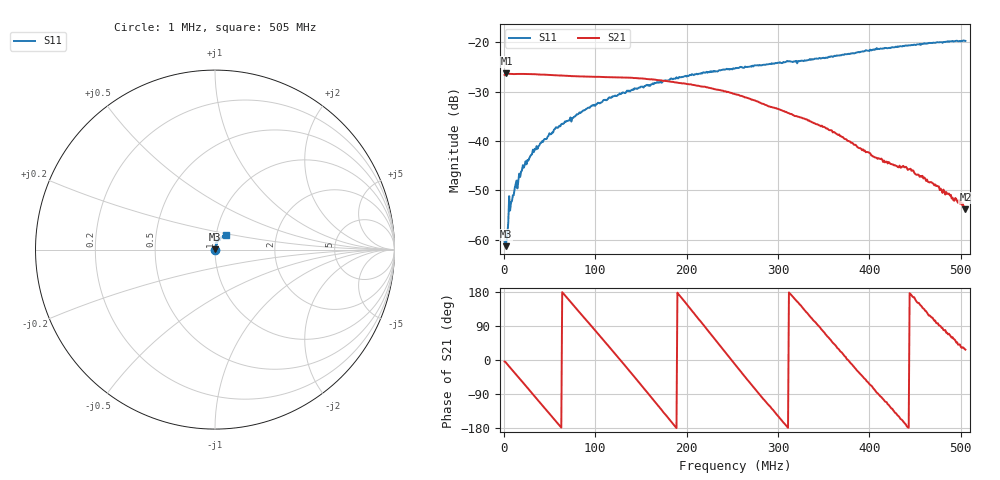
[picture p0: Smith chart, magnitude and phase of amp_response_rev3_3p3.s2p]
# HZ S RI R 50
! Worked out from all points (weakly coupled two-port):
!   505 points, 1 MHz to 505 MHz, reference 50 ohm
!   highest |S21| = -26.36 dB at 3 MHz (marker M1); lowest = -53.8 dB at 505 MHz (marker M2)
!   lowest |S11| = -61.3 dB at 2 MHz (marker M3), VSWR 1.00, Z = 50 + j0.0803 ohm
!   |S11| at or under -10 dB: start of sweep to end of sweep
!   S12 and S22 are empty: the file has one direction only
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1000000  -0.000888 0.000342  0.0465 -0.00333  0 0  0 0
2000000  -0.000319 0.000804  0.0478 -0.00457  0 0  0 0
3000000  0.000216 0.000947  0.0476 -0.00709  0 0  0 0
6000000  -0.000214 0.00276  0.0456 -0.0141  0 0  0 0
8000000  0.000313 0.00237  0.0439 -0.0185  0 0  0 0
9000000  0.000447 0.00242  0.0429 -0.0205  0 0  0 0
1.2e7  0.000608 0.00326  0.0395 -0.0264  0 0  0 0
2.2e7  0.00154 0.00515  0.0223 -0.042  0 0  0 0
3.4e7  0.00141 0.00822  -0.00518 -0.047  0 0  0 0
5.7e7  0.00346 0.0133  -0.0437 -0.0148  0 0  0 0
8.5e7  0.00568 0.0188  -0.0224 0.039  0 0  0 0
1.27e8  0.0077 0.0292  0.0439 0.00115  0 0  0 0
1.69e8  0.00963 0.0376  -0.0212 -0.0354  0 0  0 0
1.9e8  0.0108 0.0417  -0.0389 0.00162  0 0  0 0
2.14e8  0.0118 0.0465  -0.00973 0.0346  0 0  0 0
2.53e8  0.0139 0.0523  0.0291 -0.00596  0 0  0 0
3e8  0.0211 0.0581  -0.0178 -0.0114  0 0  0 0
3.37e8  0.0259 0.0621  -0.00526 0.0146  0 0  0 0
4.21e8  0.0463 0.0738  -0.0029 -0.00541  0 0  0 0
4.46e8  0.0521 0.0775  -0.00494 0.000764  0 0  0 0
4.74e8  0.0589 0.0806  -0.000414 0.0035  0 0  0 0
5.05e8  0.0633 0.0808  0.00182 0.000943  0 0  0 0
